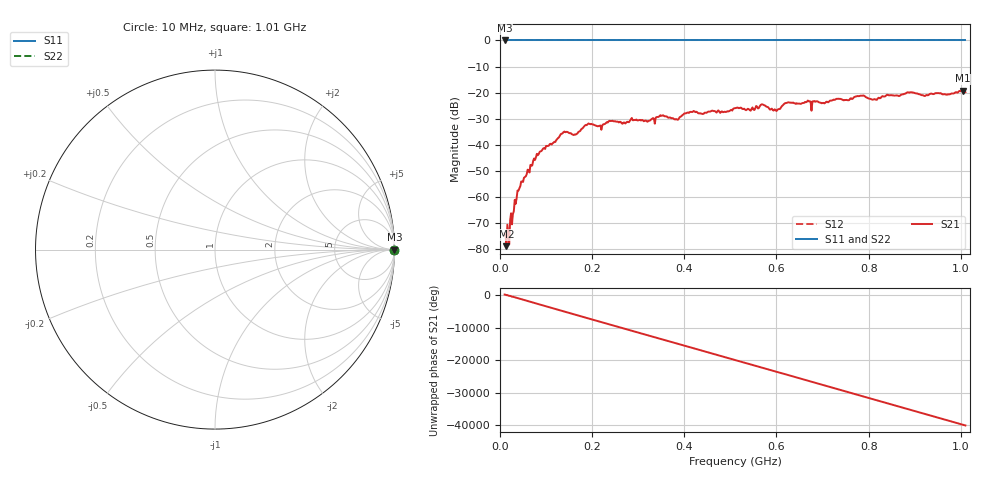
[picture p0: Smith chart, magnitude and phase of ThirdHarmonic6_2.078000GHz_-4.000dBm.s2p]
! 8/17/2025 12:52:53 AM
! C:\ANRITSUVNA\TEMP\TEMP.S2P
! CHANNEL.1
! TR.MEASUREMENT
! RAW.DATA
! RF.CORRECTION.OFF
! AVERAGING.OFF
! IF.BANDWIDTH: 5KHZ
! SWEEPTYPE:  FREQ.SWEEP(Linear)
! Reference Plane Port Info
! PORT:  PORT1  PORT2
! DISTANCE:  0  m  0  m
! TIME:  0  s  0  s
! PHASE.OFFSET:  0  deg.  0  deg.
! LOSS:  0  dB  0  dB
! REF.LOSS:  0  dB  0  dB
! REF.FREQ:  0  Hz  0  Hz
! Power Info
! POWER:  -20  dBm  -20  dBm
! EFF.POWER:  -20  dBm  -20  dBm
! SOURCE.ATTEN:  0  dB  0  dB
! TEST.ATTEN:  0  dB  0  dB
# GHZ S RI R 50.0
! FREQ.GHZ  S11RE  S11IM  S21RE  S21IM  S12RE  S12IM  S22RE  S22IM
!; PortSelection: Port_12
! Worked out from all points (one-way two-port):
!   501 points, 10 MHz to 1.01 GHz, reference 50 ohm
!   highest |S21| = -19.30 dB at 1.004 GHz (marker M1); lowest = -78.9 dB at 14 MHz (marker M2)
!   lowest |S11| = 0.0 dB at 10 MHz (marker M3)
!   |S11| at or under -10 dB: nowhere
!   |S22| runs from 0.0 to 0.0 dB; largest |S21 - S12| = 1.1
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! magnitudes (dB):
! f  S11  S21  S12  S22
! 10 MHz  0.0  -74.0  0.0  0.0
! 14 MHz  0.0  -78.9  0.0  0.0
! 16 MHz  0.0  -70.7  0.0  0.0
! 22 MHz  0.0  -69.0  0.0  0.0
! 42 MHz  0.0  -56.7  0.0  0.0
! 76 MHz  0.0  -45.8  0.0  0.0
! 136 MHz  0.0  -35.6  0.0  0.0
! 162 MHz  0.0  -36.0  0.0  0.0
! 178 MHz  0.0  -33.8  0.0  0.0
! 194 MHz  0.0  -32.0  0.0  0.0
! 216 MHz  0.0  -32.7  0.0  0.0
! 344 MHz  0.0  -29.3  0.0  0.0
! 384 MHz  0.0  -30.3  0.0  0.0
! 416 MHz  0.0  -27.5  0.0  0.0
! 510 MHz  0.0  -26.0  0.0  0.0
! 570 MHz  0.0  -24.6  0.0  0.0
! 598 MHz  0.0  -26.7  0.0  0.0
! 624 MHz  0.0  -23.8  0.0  0.0
! 678 MHz  0.0  -23.4  0.0  0.0
! 844 MHz  0.0  -21.0  0.0  0.0
! 1.004 GHz  0.0  -19.3  0.0  0.0
! 1.01 GHz  0.0  -19.8  0.0  0.0
